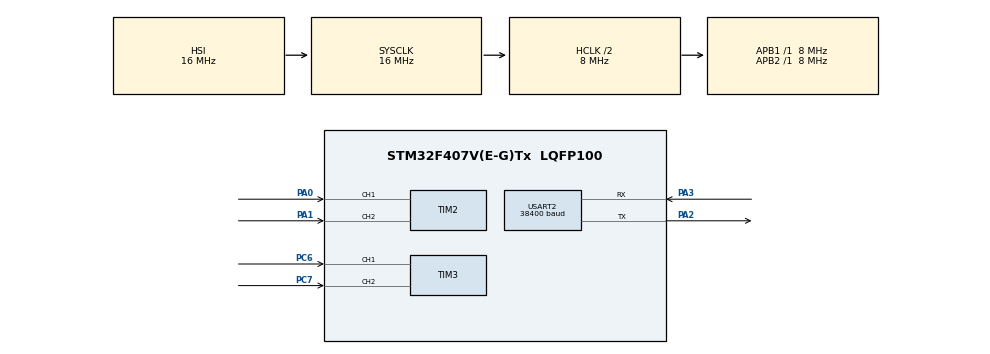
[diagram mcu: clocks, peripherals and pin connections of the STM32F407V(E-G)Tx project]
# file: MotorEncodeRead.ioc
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Mcu.Family=STM32F4
Mcu.Name=STM32F407V(E-G)Tx
Mcu.Package=LQFP100
NVIC.PriorityGroup=NVIC_PRIORITYGROUP_4
NVIC.TIM8_TRG_COM_TIM14_IRQn=true\:0\:0\:false\:false\:true\:true\:true\:true
PA0-WKUP.Signal=S_TIM2_CH1_ETR
PA1.Signal=S_TIM2_CH2
PA2.Mode=Asynchronous
PA2.Signal=USART2_TX
PA3.Mode=Asynchronous
PA3.Signal=USART2_RX
PC6.Signal=S_TIM3_CH1
PC7.Signal=S_TIM3_CH2
ProjectManager.HeapSize=0x200
ProjectManager.StackSize=0x400
ProjectManager.TargetToolchain=STM32CubeIDE
RCC.AHBCLKDivider=RCC_SYSCLK_DIV2
RCC.AHBFreq_Value=8000000
RCC.APB1Freq_Value=8000000
RCC.APB1TimFreq_Value=8000000
RCC.APB2Freq_Value=8000000
RCC.APB2TimFreq_Value=8000000
RCC.CortexFreq_Value=8000000
RCC.HCLKFreq_Value=8000000
RCC.HSE_VALUE=25000000
RCC.HSI_VALUE=16000000
RCC.LSE_VALUE=32768
RCC.SYSCLKFreq_VALUE=16000000
RCC.VCOOutputFreq_Value=192000000
SH.S_TIM2_CH1_ETR.0=TIM2_CH1,Encoder_Interface
SH.S_TIM2_CH2.0=TIM2_CH2,Encoder_Interface
SH.S_TIM3_CH1.0=TIM3_CH1,Encoder_Interface
SH.S_TIM3_CH2.0=TIM3_CH2,Encoder_Interface
TIM14.Period=1000
TIM14.Prescaler=800
TIM2.EncoderMode=TIM_ENCODERMODE_TI12
TIM3.EncoderMode=TIM_ENCODERMODE_TI12
USART2.BaudRate=38400
USART2.VirtualMode=VM_ASYNC
VP_TIM14_VS_ClockSourceINT.Mode=Enable_Timer
board=custom

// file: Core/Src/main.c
/* USER CODE BEGIN Header */
/**
  ******************************************************************************
  * @file           : main.c
  * @brief          : Main program body
  ******************************************************************************
  * @attention
  *
  * Copyright (c) 2025 STMicroelectronics.
  * All rights reserved.
  *
  * This software is licensed under terms that can be found in the LICENSE file
  * in the root directory of this software component.
  * If no LICENSE file comes with this software, it is provided AS-IS.
  *
  ******************************************************************************
  */
/* USER CODE END Header */
#include "main.h"

TIM_HandleTypeDef htim2;
TIM_HandleTypeDef htim3;
TIM_HandleTypeDef htim14;

UART_HandleTypeDef huart2;

/* USER CODE BEGIN PV */
int16_t encoderL = 0;
int16_t encoderR = 0;

float dt = 0.010;
int16_t encoderLOld = 0;
int16_t encoderROld = 0;
int16_t encoderLSpeed = 0;
int16_t encoderRSpeed = 0;
int16_t encoderLSpeedMax = 0;
int16_t encoderRSpeedMax = 0;
int16_t encoderLSpeedMin = 0;
int16_t encoderRSpeedMin = 0;
/* USER CODE END PV */

void SystemClock_Config(void);
static void MX_GPIO_Init(void);
static void MX_USART2_UART_Init(void);
static void MX_TIM2_Init(void);
static void MX_TIM3_Init(void);
static void MX_TIM14_Init(void);

/* USER CODE BEGIN 0 */

//volatile long int pas;

/* USER CODE END 0 */

int main(void)
{

  /* MCU Configuration--------------------------------------------------------*/

  /* Reset of all peripherals, Initializes the Flash interface and the Systick. */
  HAL_Init();

  /* Configure the system clock */
  SystemClock_Config();

  /* Initialize all configured peripherals */
  MX_GPIO_Init();
  MX_USART2_UART_Init();
  MX_TIM2_Init();
  MX_TIM3_Init();
  MX_TIM14_Init();
  /* USER CODE BEGIN 2 */
  HAL_TIM_Base_Start_IT(&htim14); // period 10ms

  HAL_TIM_Encoder_Start(&htim2, TIM_CHANNEL_1);
  HAL_TIM_Encoder_Start(&htim2, TIM_CHANNEL_2);

  HAL_TIM_Encoder_Start(&htim3, TIM_CHANNEL_1);
  HAL_TIM_Encoder_Start(&htim3, TIM_CHANNEL_2);

  /* USER CODE END 2 */

  /* Infinite loop */
  while (1)
  {

  }
}

void SystemClock_Config(void)
{
  RCC_OscInitTypeDef RCC_OscInitStruct = {0};
  RCC_ClkInitTypeDef RCC_ClkInitStruct = {0};

  /** Configure the main internal regulator output voltage
  */
  __HAL_RCC_PWR_CLK_ENABLE();
  __HAL_PWR_VOLTAGESCALING_CONFIG(PWR_REGULATOR_VOLTAGE_SCALE1);

  /** Initializes the RCC Oscillators according to the specified parameters
  * in the RCC_OscInitTypeDef structure.
  */
  RCC_OscInitStruct.OscillatorType = RCC_OSCILLATORTYPE_HSI;
  RCC_OscInitStruct.HSIState = RCC_HSI_ON;
  RCC_OscInitStruct.HSICalibrationValue = RCC_HSICALIBRATION_DEFAULT;
  RCC_OscInitStruct.PLL.PLLState = RCC_PLL_NONE;
  if (HAL_RCC_OscConfig(&RCC_OscInitStruct) != HAL_OK)
  {
    Error_Handler();
  }

  /** Initializes the CPU, AHB and APB buses clocks
  */
  RCC_ClkInitStruct.ClockType = RCC_CLOCKTYPE_HCLK|RCC_CLOCKTYPE_SYSCLK
                              |RCC_CLOCKTYPE_PCLK1|RCC_CLOCKTYPE_PCLK2;
  RCC_ClkInitStruct.SYSCLKSource = RCC_SYSCLKSOURCE_HSI;
  RCC_ClkInitStruct.AHBCLKDivider = RCC_SYSCLK_DIV2;
  RCC_ClkInitStruct.APB1CLKDivider = RCC_HCLK_DIV1;
  RCC_ClkInitStruct.APB2CLKDivider = RCC_HCLK_DIV1;

  if (HAL_RCC_ClockConfig(&RCC_ClkInitStruct, FLASH_LATENCY_0) != HAL_OK)
  {
    Error_Handler();
  }
}

static void MX_TIM2_Init(void)
{

  TIM_Encoder_InitTypeDef sConfig = {0};
  TIM_MasterConfigTypeDef sMasterConfig = {0};

  htim2.Instance = TIM2;
  htim2.Init.Prescaler = 0;
  htim2.Init.CounterMode = TIM_COUNTERMODE_UP;
  htim2.Init.Period = 4294967295;
  htim2.Init.ClockDivision = TIM_CLOCKDIVISION_DIV1;
  htim2.Init.AutoReloadPreload = TIM_AUTORELOAD_PRELOAD_DISABLE;
  sConfig.EncoderMode = TIM_ENCODERMODE_TI12;
  sConfig.IC1Polarity = TIM_ICPOLARITY_RISING;
  sConfig.IC1Selection = TIM_ICSELECTION_DIRECTTI;
  sConfig.IC1Prescaler = TIM_ICPSC_DIV1;
  sConfig.IC1Filter = 0;
  sConfig.IC2Polarity = TIM_ICPOLARITY_RISING;
  sConfig.IC2Selection = TIM_ICSELECTION_DIRECTTI;
  sConfig.IC2Prescaler = TIM_ICPSC_DIV1;
  sConfig.IC2Filter = 0;
  if (HAL_TIM_Encoder_Init(&htim2, &sConfig) != HAL_OK)
  {
    Error_Handler();
  }
  sMasterConfig.MasterOutputTrigger = TIM_TRGO_RESET;
  sMasterConfig.MasterSlaveMode = TIM_MASTERSLAVEMODE_DISABLE;
  if (HAL_TIMEx_MasterConfigSynchronization(&htim2, &sMasterConfig) != HAL_OK)
  {
    Error_Handler();
  }

}

static void MX_TIM3_Init(void)
{

  TIM_Encoder_InitTypeDef sConfig = {0};
  TIM_MasterConfigTypeDef sMasterConfig = {0};

  htim3.Instance = TIM3;
  htim3.Init.Prescaler = 0;
  htim3.Init.CounterMode = TIM_COUNTERMODE_UP;
  htim3.Init.Period = 65535;
  htim3.Init.ClockDivision = TIM_CLOCKDIVISION_DIV1;
  htim3.Init.AutoReloadPreload = TIM_AUTORELOAD_PRELOAD_DISABLE;
  sConfig.EncoderMode = TIM_ENCODERMODE_TI12;
  sConfig.IC1Polarity = TIM_ICPOLARITY_RISING;
  sConfig.IC1Selection = TIM_ICSELECTION_DIRECTTI;
  sConfig.IC1Prescaler = TIM_ICPSC_DIV1;
  sConfig.IC1Filter = 0;
  sConfig.IC2Polarity = TIM_ICPOLARITY_RISING;
  sConfig.IC2Selection = TIM_ICSELECTION_DIRECTTI;
  sConfig.IC2Prescaler = TIM_ICPSC_DIV1;
  sConfig.IC2Filter = 0;
  if (HAL_TIM_Encoder_Init(&htim3, &sConfig) != HAL_OK)
  {
    Error_Handler();
  }
  sMasterConfig.MasterOutputTrigger = TIM_TRGO_RESET;
  sMasterConfig.MasterSlaveMode = TIM_MASTERSLAVEMODE_DISABLE;
  if (HAL_TIMEx_MasterConfigSynchronization(&htim3, &sMasterConfig) != HAL_OK)
  {
    Error_Handler();
  }

}

static void MX_TIM14_Init(void)
{

  htim14.Instance = TIM14;
  htim14.Init.Prescaler = 800;
  htim14.Init.CounterMode = TIM_COUNTERMODE_UP;
  htim14.Init.Period = 1000;
  htim14.Init.ClockDivision = TIM_CLOCKDIVISION_DIV1;
  htim14.Init.AutoReloadPreload = TIM_AUTORELOAD_PRELOAD_DISABLE;
  if (HAL_TIM_Base_Init(&htim14) != HAL_OK)
  {
    Error_Handler();
  }

}

static void MX_USART2_UART_Init(void)
{

  huart2.Instance = USART2;
  huart2.Init.BaudRate = 38400;
  huart2.Init.WordLength = UART_WORDLENGTH_8B;
  huart2.Init.StopBits = UART_STOPBITS_1;
  huart2.Init.Parity = UART_PARITY_NONE;
  huart2.Init.Mode = UART_MODE_TX_RX;
  huart2.Init.HwFlowCtl = UART_HWCONTROL_NONE;
  huart2.Init.OverSampling = UART_OVERSAMPLING_16;
  if (HAL_UART_Init(&huart2) != HAL_OK)
  {
    Error_Handler();
  }

}

static void MX_GPIO_Init(void)
{

  /* GPIO Ports Clock Enable */
  __HAL_RCC_GPIOA_CLK_ENABLE();
  __HAL_RCC_GPIOC_CLK_ENABLE();

}

/* USER CODE BEGIN 4 */

void HAL_TIM_PeriodElapsedCallback(TIM_HandleTypeDef *htim)
{
  /* Prevent unused argument(s) compilation warning */
  UNUSED(htim);

  /*//variables reference
  int16_t encoderL = 0;
  int16_t encoderR = 0;

  float dt = 0.010;
  int16_t encoderLOld = 0;
  int16_t encoderROld = 0;
  int16_t encoderLSpeed = 0;
  int16_t encoderRSpeed = 0;
  int16_t encoderLSpeedMax = 0;
  int16_t encoderRSpeedMax = 0;
  */

  encoderL = __HAL_TIM_GET_COUNTER(&htim2);
  encoderR = __HAL_TIM_GET_COUNTER(&htim3);

  encoderLSpeed = (encoderL-encoderLOld)/dt;
  encoderLOld = encoderL;

  encoderRSpeed = (encoderR-encoderROld)/dt;
  encoderROld = encoderR;

  if (encoderLSpeed > encoderLSpeedMax){
	  encoderLSpeedMax = encoderLSpeed;
  }else if(encoderLSpeed < encoderLSpeedMin){
	  encoderLSpeedMin = encoderLSpeed;
  }

  if (encoderRSpeed > encoderRSpeedMax){
	  encoderRSpeedMax = encoderRSpeed;
  }else if(encoderRSpeed < encoderRSpeedMin){
	  encoderRSpeedMin = encoderRSpeed;
  }

  // TODO
  // to make the speed with meaningfull unit
  // now is impulses per time

}

/* USER CODE END 4 */

void Error_Handler(void)
{
  __disable_irq();
  while (1)
  {
  }
}
